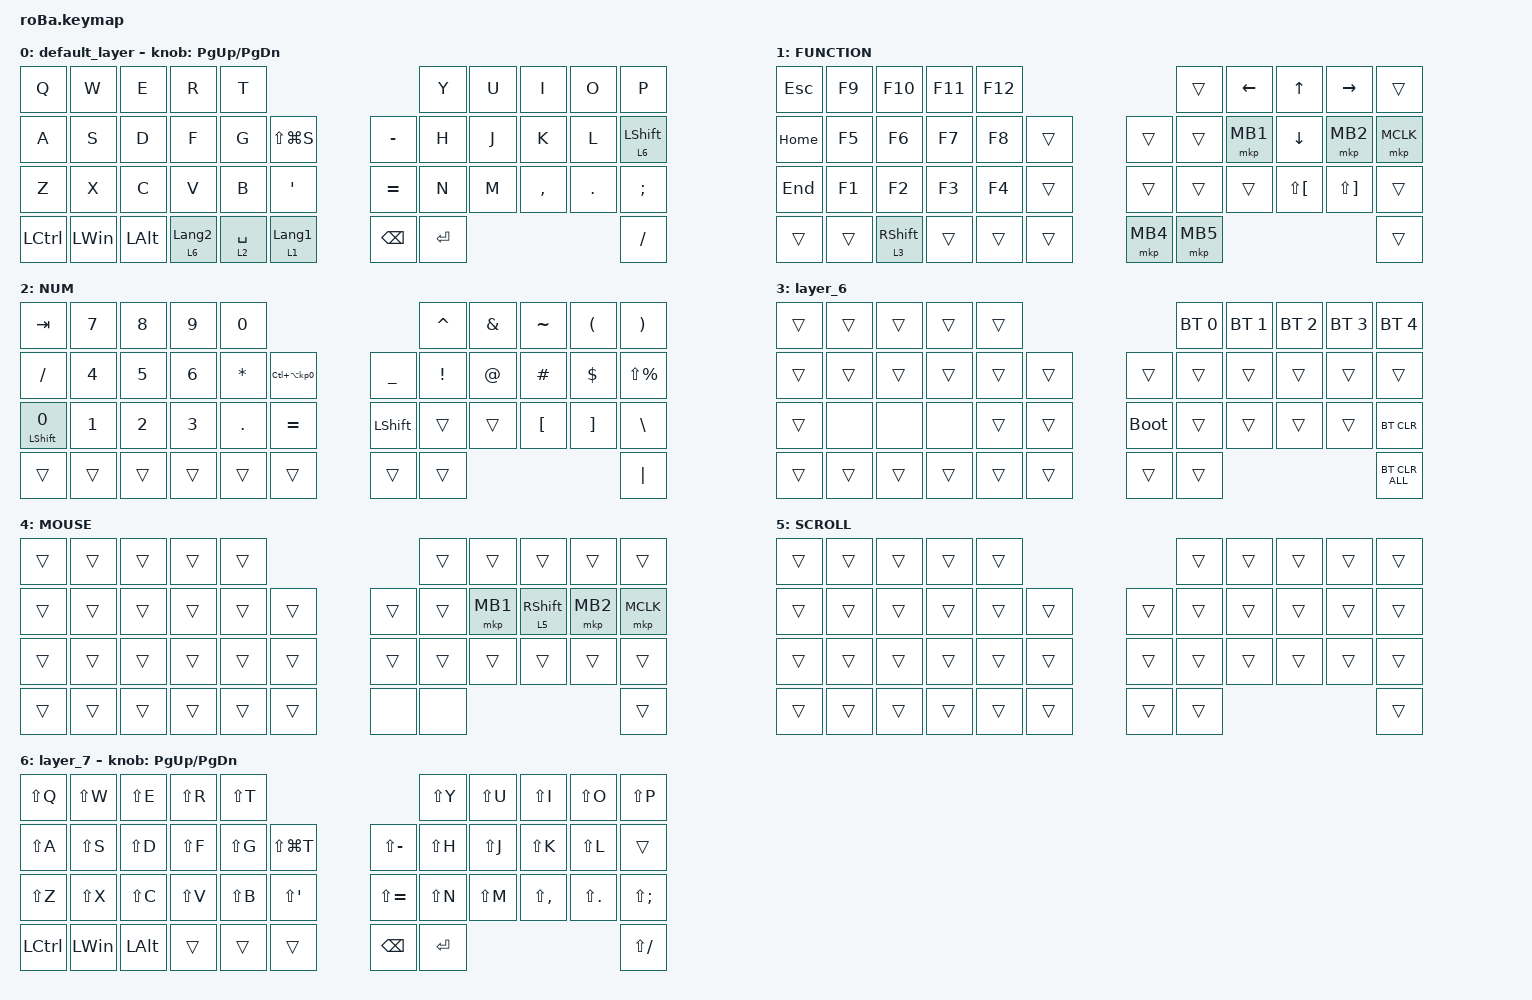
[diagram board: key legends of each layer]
#include <dt-bindings/zmk/mouse.h>
#include <behaviors.dtsi>
#include <dt-bindings/zmk/bt.h>
#include <dt-bindings/zmk/keys.h>
#include <dt-bindings/zmk/pointing.h>

#define MOUSE 4
#define SCROLL 5
#define NUM 6

&mt {
    flavor = "balanced";
    quick-tap-ms = <0>;
};

/ {
    combos {
        compatible = "zmk,combos";

        tab {
            bindings = <&kp TAB>;
            key-positions = <11 12>;
        };

        shift_tab {
            bindings = <&kp LS(TAB)>;
            key-positions = <12 13>;
        };

        muhennkann {
            bindings = <&to_layer_0 INT_MUHENKAN>;
            key-positions = <11 10>;
        };

        double_quotation {
            bindings = <&kp DOUBLE_QUOTES>;
            key-positions = <20 21>;
        };

        eq {
            bindings = <&kp EQUAL>;
            key-positions = <24 25>;
        };
    };

    macros {
        to_layer_0: to_layer_0 {
            compatible = "zmk,behavior-macro-one-param";
            #binding-cells = <1>;
            bindings = <&to 0 &macro_param_1to1 &kp MACRO_PLACEHOLDER>;
            label = "TO_LAYER_0";
        };
    };

    behaviors {
        lt_to_layer_0: lt_to_layer_0 {
            compatible = "zmk,behavior-hold-tap";
            label = "LAYER_TAP_TO_0";
            bindings = <&mo>, <&to_layer_0>;

            #binding-cells = <2>;
            tapping-term-ms = <200>;
        };
    };

    keymap {
        compatible = "zmk,keymap";

        default_layer {
            bindings = <
&kp Q      &kp W         &kp E         &kp R                        &kp T                                                      &kp Y      &kp U  &kp I      &kp O    &kp P
&kp A      &kp S         &kp D         &kp F                        &kp G        &kp LS(LG(S))                  &kp MINUS      &kp H      &kp J  &kp K      &kp L    &lt 6 LEFT_SHIFT
&kp Z      &kp X         &kp C         &kp V                        &kp B        &kp APOS                       &kp EQUAL      &kp N      &kp M  &kp COMMA  &kp DOT  &kp SEMICOLON
&kp LCTRL  &kp LEFT_WIN  &kp LEFT_ALT  &lt_to_layer_0 6 LANGUAGE_2  &lt 2 SPACE  &lt_to_layer_0 1 LANGUAGE_1    &kp BACKSPACE  &kp ENTER                             &kp SLASH
            >;

            sensor-bindings = <&inc_dec_kp PAGE_UP PAGE_DOWN>;
        };

        FUNCTION {
            bindings = <
&kp ESC   &kp F9  &kp F10            &kp F11  &kp F12                      &trans    &kp LEFT_ARROW  &kp UP_ARROW          &kp RIGHT_ARROW        &trans
&kp HOME  &kp F5  &kp F6             &kp F7   &kp F8   &trans    &trans    &trans    &mkp MB1        &kp DOWN_ARROW        &mkp MB2               &mkp MCLK
&kp END   &kp F1  &kp F2             &kp F3   &kp F4   &trans    &trans    &trans    &trans          &kp LS(LEFT_BRACKET)  &kp LS(RIGHT_BRACKET)  &trans
&trans    &trans  &lt 3 RIGHT_SHIFT  &trans   &trans   &trans    &mkp MB4  &mkp MB5                                                               &trans
            >;
        };

        NUM {
            bindings = <
&kp TAB            &kp N7        &kp N8        &kp N9        &kp N0                                                   &kp CARET        &kp AMPERSAND  &kp TILDE  &kp LEFT_PARENTHESIS  &kp RIGHT_PARENTHESIS
&kp SLASH          &kp NUMBER_4  &kp N5        &kp NUMBER_6  &kp ASTERISK  &kp LC(LA(KP_NUMBER_0))    &kp UNDERSCORE  &kp EXCLAMATION  &kp AT_SIGN    &kp HASH   &kp DOLLAR            &kp LS(PERCENT)
&mt LEFT_SHIFT N0  &kp NUMBER_1  &kp NUMBER_2  &kp NUMBER_3  &kp PERIOD    &kp EQUAL                  &kp LEFT_SHIFT  &trans           &trans         &kp LBKT   &kp RBKT              &kp BACKSLASH
&trans             &trans        &trans        &trans        &trans        &trans                     &trans          &trans                                                           &kp PIPE
            >;
        };

        layer_6 {
            bindings = <
&trans  &trans  &trans  &trans  &trans                         &bt BT_SEL 0  &bt BT_SEL 1  &bt BT_SEL 2  &bt BT_SEL 3  &bt BT_SEL 4
&trans  &trans  &trans  &trans  &trans  &trans    &trans       &trans        &trans        &trans        &trans        &trans
&trans  &none   &none   &none   &trans  &trans    &bootloader  &trans        &trans        &trans        &trans        &bt BT_CLR
&trans  &trans  &trans  &trans  &trans  &trans    &trans       &trans                                                  &bt BT_CLR_ALL
            >;
        };

        MOUSE {
            bindings = <
&trans  &trans  &trans  &trans  &trans                    &trans  &trans    &trans             &trans    &trans
&trans  &trans  &trans  &trans  &trans  &trans    &trans  &trans  &mkp MB1  &lt 5 RIGHT_SHIFT  &mkp MB2  &mkp MCLK
&trans  &trans  &trans  &trans  &trans  &trans    &trans  &trans  &trans    &trans             &trans    &trans
&trans  &trans  &trans  &trans  &trans  &trans    &none   &none                                          &trans
            >;
        };

        SCROLL {
            bindings = <
&trans  &trans  &trans  &trans  &trans                    &trans  &trans  &trans  &trans  &trans
&trans  &trans  &trans  &trans  &trans  &trans    &trans  &trans  &trans  &trans  &trans  &trans
&trans  &trans  &trans  &trans  &trans  &trans    &trans  &trans  &trans  &trans  &trans  &trans
&trans  &trans  &trans  &trans  &trans  &trans    &trans  &trans                          &trans
            >;
        };

        layer_7 {
            bindings = <
&kp LS(Q)  &kp LS(W)     &kp LS(E)     &kp LS(R)  &kp LS(T)                                  &kp LS(Y)  &kp LS(U)  &kp LS(I)      &kp LS(O)    &kp LS(P)
&kp LS(A)  &kp LS(S)     &kp LS(D)     &kp LS(F)  &kp LS(G)  &kp LS(LG(T))    &kp LS(MINUS)  &kp LS(H)  &kp LS(J)  &kp LS(K)      &kp LS(L)    &trans
&kp LS(Z)  &kp LS(X)     &kp LS(C)     &kp LS(V)  &kp LS(B)  &kp LS(APOS)     &kp LS(EQUAL)  &kp LS(N)  &kp LS(M)  &kp LS(COMMA)  &kp LS(DOT)  &kp LS(SEMICOLON)
&kp LCTRL  &kp LEFT_WIN  &kp LEFT_ALT  &trans     &trans     &trans           &kp BACKSPACE  &kp ENTER                                         &kp LS(SLASH)
            >;

            sensor-bindings = <&inc_dec_kp PAGE_UP PAGE_DOWN>;
        };
    };
};
